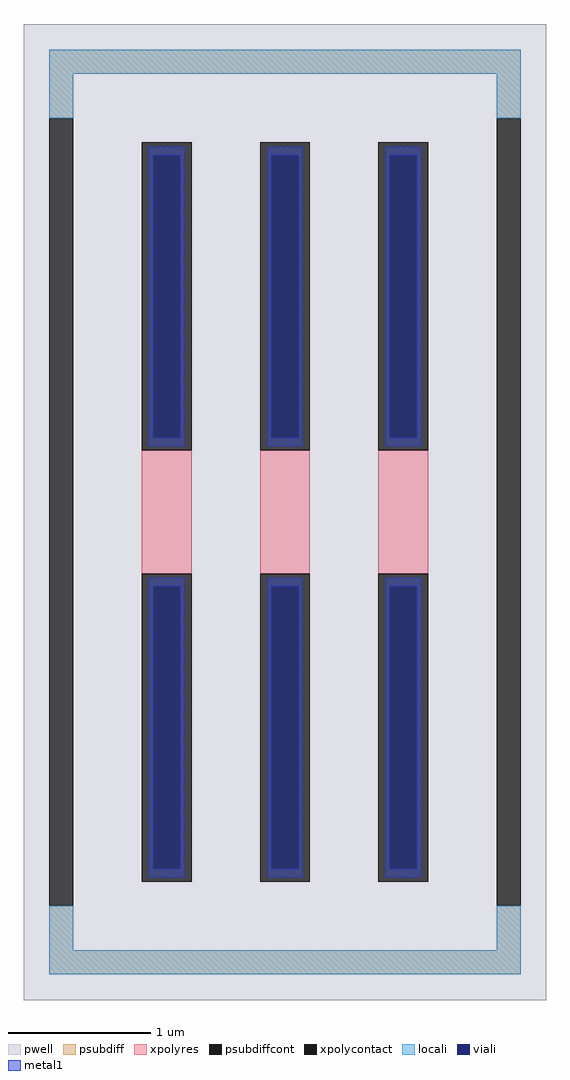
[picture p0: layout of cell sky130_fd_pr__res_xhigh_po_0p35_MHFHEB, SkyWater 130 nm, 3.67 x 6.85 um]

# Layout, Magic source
magic
tech sky130A
magscale 1 2
<< pwell >>
rect -367 -685 367 685
<< psubdiff >>
rect -331 615 331 649
rect -331 553 -297 615
rect 297 553 331 615
rect -331 -615 -297 -553
rect 297 -615 331 -553
rect -331 -649 331 -615
<< psubdiffcont >>
rect -331 -553 -297 553
rect 297 -553 331 553
<< xpolycontact >>
rect -201 87 -131 519
rect -201 -519 -131 -87
rect -35 87 35 519
rect -35 -519 35 -87
rect 131 87 201 519
rect 131 -519 201 -87
<< xpolyres >>
rect -201 -87 -131 87
rect -35 -87 35 87
rect 131 -87 201 87
<< locali >>
rect -331 615 331 649
rect -331 553 -297 615
rect 297 553 331 615
rect -331 -615 -297 -553
rect 297 -615 331 -553
rect -331 -649 331 -615
<< viali >>
rect -185 104 -147 501
rect -19 104 19 501
rect 147 104 185 501
rect -185 -501 -147 -104
rect -19 -501 19 -104
rect 147 -501 185 -104
<< metal1 >>
rect -191 501 -141 513
rect -191 104 -185 501
rect -147 104 -141 501
rect -191 92 -141 104
rect -25 501 25 513
rect -25 104 -19 501
rect 19 104 25 501
rect -25 92 25 104
rect 141 501 191 513
rect 141 104 147 501
rect 185 104 191 501
rect 141 92 191 104
rect -191 -104 -141 -92
rect -191 -501 -185 -104
rect -147 -501 -141 -104
rect -191 -513 -141 -501
rect -25 -104 25 -92
rect -25 -501 -19 -104
rect 19 -501 25 -104
rect -25 -513 25 -501
rect 141 -104 191 -92
rect 141 -501 147 -104
rect 185 -501 191 -104
rect 141 -513 191 -501
<< properties >>
string FIXED_BBOX -314 -632 314 632
string gencell sky130_fd_pr__res_xhigh_po_0p35
string library sky130
string parameters w 0.350 l 1.03 m 1 nx 3 wmin 0.350 lmin 0.50 rho 2000 val 6.961k dummy 0 dw 0.0 term 188.2 sterm 0.0 caplen 0 wmax 0.350 guard 1 glc 1 grc 1 gtc 0 gbc 0 compatible {sky130_fd_pr__res_xhigh_po_0p35  sky130_fd_pr__res_xhigh_po_0p69 sky130_fd_pr__res_xhigh_po_1p41  sky130_fd_pr__res_xhigh_po_2p85 sky130_fd_pr__res_xhigh_po_5p73} snake 0 full_metal 1 n_guard 0 hv_guard 0 vias 1 viagb 0 viagt 0 viagl 0 viagr 0
<< end >>
